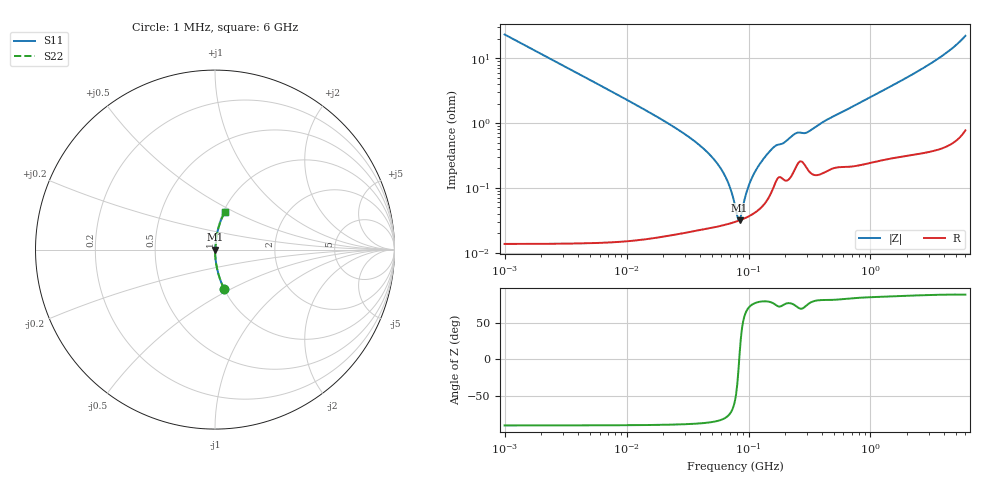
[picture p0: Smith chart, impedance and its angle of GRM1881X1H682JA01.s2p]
!Murata Part Number: GRM1881X1H682JA01
!These Parameters are Measured in Series Mode Connection
!Data Generated on Mar 30, 2021
!  o--ll--o
!Port1  Port2
!  o------o
!Operation Temp=25[degC], DC Bias Voltage=0[V]
!Freq. Start=1000[kHz] Stop=6[GHz] 401[Steps]
# Hz S RI R 50
!Freq.(Hz) S11(Real) S11(Imag) S21(Real) S21(Imag) S12(Real) S12(Imag) S22(Real) S22(Imag)
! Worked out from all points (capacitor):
!   401 points, 1 MHz to 6 GHz, reference 50 ohm
!   read as one part in series: C = 6.81 nF near 1.044 MHz
!   lowest |Z| = 31.8 mohm at 84.5 MHz (marker M1)
!   series resonance near 83.88 MHz, so ESL is about 530 pH
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1000000  0.0519 -0.2215  0.9481 0.2215  0.9481 0.2215  0.0519 -0.2215
4293785  0.00307 -0.0541  0.9969 0.0541  0.9969 0.0541  0.00307 -0.0541
1.843659e7  0.000317 -0.012  0.9997 0.012  0.9997 0.012  0.000317 -0.012
3.46415e7  0.000243 -0.00557  0.9998 0.00557  0.9998 0.00557  0.000243 -0.00557
5.124051e7  0.000252 -0.00285  0.9997 0.00285  0.9997 0.00285  0.000252 -0.00285
5.966657e7  0.000264 -0.00193  0.9997 0.00193  0.9997 0.00193  0.000264 -0.00193
6.652088e7  0.000275 -0.0013  0.9997 0.0013  0.9997 0.0013  0.000275 -0.0013
7.256705e7  0.000287 -0.000811  0.9997 0.000811  0.9997 0.000811  0.000287 -0.000811
7.745967e7  0.000298 -0.000445  0.9997 0.000445  0.9997 0.000445  0.000298 -0.000445
8.090333e7  0.000306 -0.000202  0.9997 0.000202  0.9997 0.000202  0.000306 -0.000202
8.450008e7  0.000315 4.17e-05  0.9997 -4.17e-05  0.9997 -4.17e-05  0.000315 4.17e-05
8.825674e7  0.000325 0.000286  0.9997 -0.000286  0.9997 -0.000286  0.000325 0.000286
9.83954e7  0.000357 0.000905  0.9996 -0.000905  0.9996 -0.000905  0.000357 0.000905
1.050294e8  0.000382 0.00129  0.9996 -0.00129  0.9996 -0.00129  0.000382 0.00129
1.196694e8  0.000454 0.00208  0.9995 -0.00208  0.9995 -0.00208  0.000454 0.00208
1.39348e8  0.00062 0.00309  0.9994 -0.00309  0.9994 -0.00309  0.00062 0.00309
1.622626e8  0.00109 0.00416  0.9989 -0.00416  0.9989 -0.00416  0.00109 0.00416
2.400133e8  0.00198 0.00653  0.998 -0.00653  0.998 -0.00653  0.00198 0.00653
3.325952e8  0.00169 0.00787  0.9983 -0.00787  0.9983 -0.00787  0.00169 0.00787
1.428092e9  0.00408 0.0357  0.9959 -0.0357  0.9959 -0.0357  0.00408 0.0357
3.483508e9  0.0127 0.0937  0.9873 -0.0937  0.9873 -0.0937  0.0127 0.0937
6e9  0.0538 0.209  0.9462 -0.209  0.9462 -0.209  0.0538 0.209
